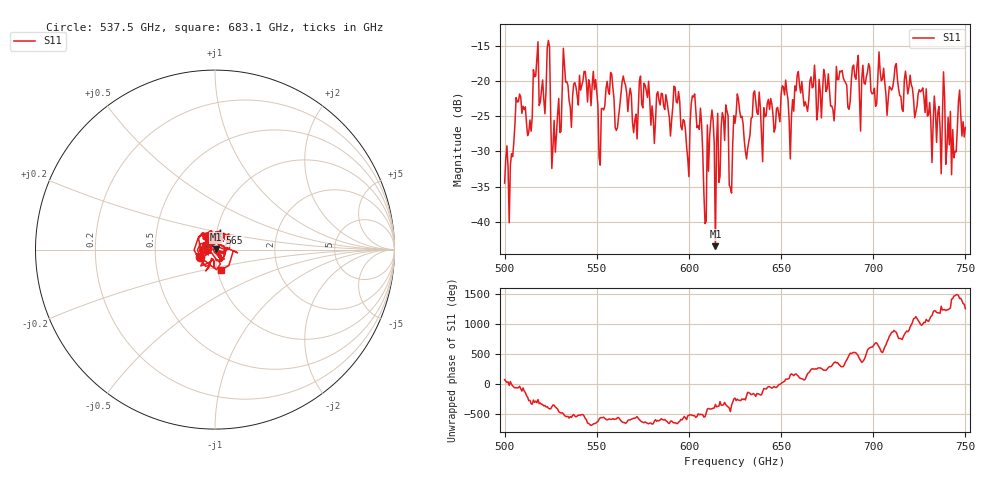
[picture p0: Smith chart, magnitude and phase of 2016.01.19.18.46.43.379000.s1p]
!Created with skrf (http://scikit-rf.org).
# GHz S RI R 50.0
!freq ReS11 ImS11
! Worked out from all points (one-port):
!   401 points, 500 GHz to 750 GHz, reference 50 ohm
!   lowest |S11| = -43.5 dB at 614.4 GHz (marker M1), VSWR 1.01, Z = 50.6 + j0.184 ohm
!   |S11| at or under -10 dB: start of sweep to end of sweep
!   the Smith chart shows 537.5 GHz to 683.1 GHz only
!   S11 on the Smith chart (normalised r, x): 537.5 GHz: 0.84, -0.07; 565 GHz: 1.04, +0.20; 683.1 GHz: 1.04, -0.24
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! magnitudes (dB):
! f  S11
! 500 GHz  -34.5
! 503.8 GHz  -30.3
! 507.5 GHz  -23.0
! 513.8 GHz  -25.5
! 516.9 GHz  -19.3
! 523.8 GHz  -14.3
! 526.9 GHz  -25.6
! 531.2 GHz  -21.2
! 537.5 GHz  -20.4
! 562.5 GHz  -23.6
! 565 GHz  -20.2
! 570.6 GHz  -25.6
! 593.8 GHz  -23.1
! 599.4 GHz  -31.1
! 602.5 GHz  -22.3
! 609.4 GHz  -39.9
! 611.2 GHz  -27.8
! 614.4 GHz  -43.5
! 620 GHz  -23.4
! 623.1 GHz  -35.9
! 625 GHz  -26.0
! 631.2 GHz  -31.1
! 656.2 GHz  -22.7
! 683.1 GHz  -18.5
! 687.5 GHz  -22.9
! 718.8 GHz  -21.8
! 743.8 GHz  -30.9
! 750 GHz  -26.6
